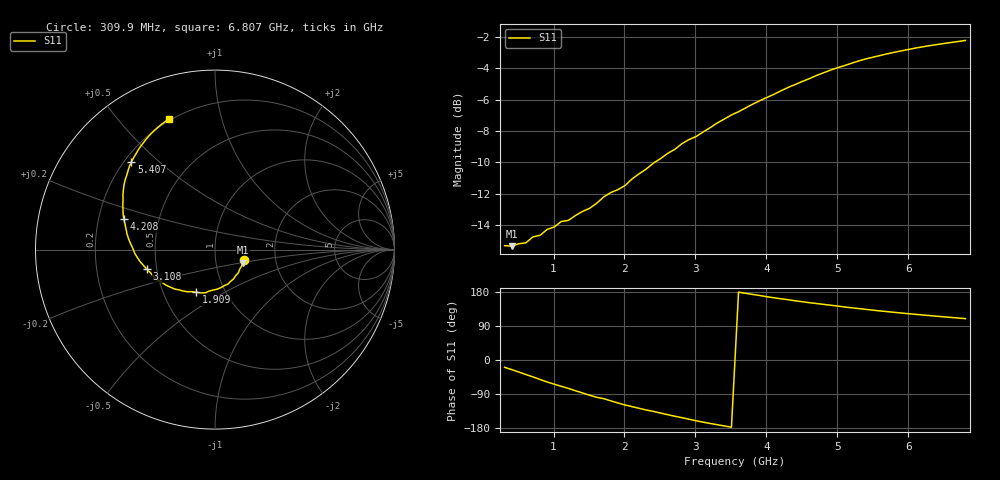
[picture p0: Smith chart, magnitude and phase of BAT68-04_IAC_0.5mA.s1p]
! Infineon Technologies  Discrete & RF Semiconductors
! BAT68-04
! IAC = 0.5 mA
! One-Port S-Parameters
# Hz  S  MA  R  50
!f  S11
!Hz  Mag  Ang
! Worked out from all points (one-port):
!   66 points, 309.9 MHz to 6.807 GHz, reference 50 ohm
!   lowest |S11| = -15.3 dB at 409.8 MHz (marker M1), VSWR 1.41, Z = 67.4 - j10.2 ohm
!   |S11| at or under -10 dB: start of sweep to 2.422 GHz
!   S11 on the Smith chart (normalised r, x): 309.9 MHz: 1.38, -0.16; 1.909 GHz: 0.73, -0.37; 3.108 GHz: 0.44, -0.11; 4.208 GHz: 0.31, +0.15; 5.407 GHz: 0.23, +0.41; 6.807 GHz: 0.19, +0.69
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3.0985e8  0.1719 -19.3
4.098e8  0.1712 -25.3
6.097e8  0.1755 -38.3
7.0965e8  0.1833 -44.6
8.096e8  0.1854 -51.4
9.0955e8  0.1936 -58.1
1.0095e9  0.1971 -63.9
1.10945e9  0.2052 -69.5
1.2094e9  0.2068 -75.0
1.50925e9  0.226 -93.3
1.70915e9  0.2458 -102.2
1.90905e9  0.2592 -113.5
2.009e9  0.2671 -118.8
2.4088e9  0.3148 -135.8
2.8086e9  0.3628 -152.2
3.10845e9  0.3953 -164.0
3.4083e9  0.4347 -174.1
3.6082e9  0.4586 179.1
3.90805e9  0.497 170.2
4.2079e9  0.5346 161.6
4.4078e9  0.5598 156.3
4.90755e9  0.6224 144.5
5.2074e9  0.6549 137.7
5.4073e9  0.6754 133.5
5.70715e9  0.7012 127.5
6.007e9  0.7238 122.2
6.30685e9  0.7444 117.1
6.8066e9  0.7729 109.2
